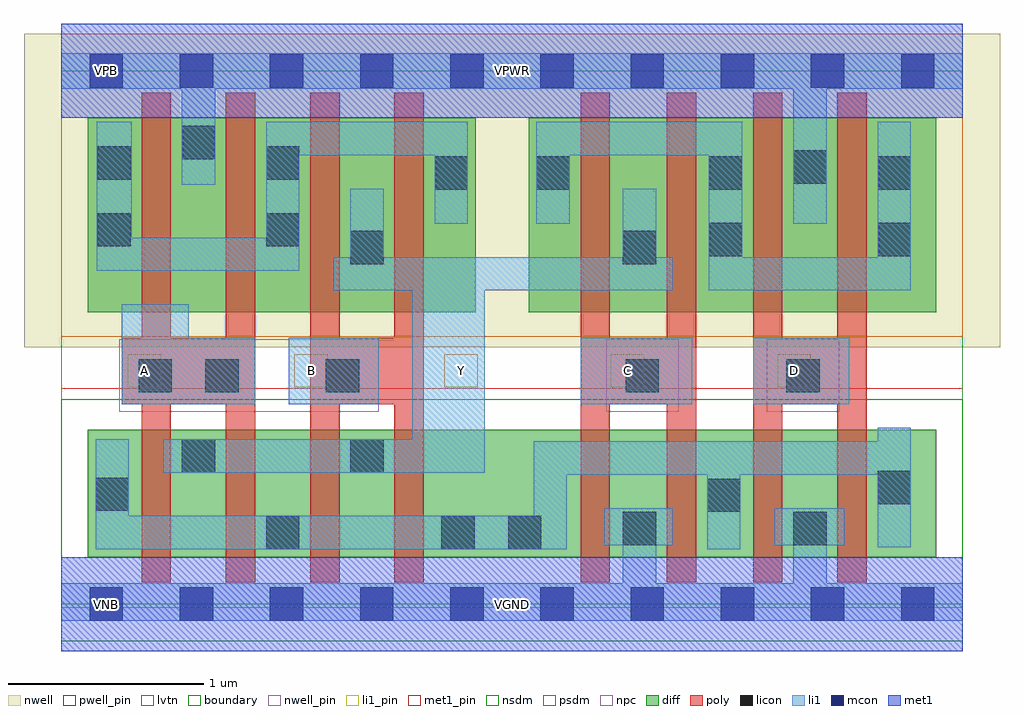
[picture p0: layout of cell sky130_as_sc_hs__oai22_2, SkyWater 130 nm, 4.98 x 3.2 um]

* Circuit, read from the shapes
.subckt sky130_as_sc_hs__oai22_2 A B C D VGND VNB VPB VPWR Y
XM1 Y A n1 VNB sky130_fd_pr__nfet_01v8_lvt w=0.65 l=0.15 m=2
XM2 Y B n1 VNB sky130_fd_pr__nfet_01v8_lvt w=0.65 l=0.15 m=2
XM3 VGND C n1 VNB sky130_fd_pr__nfet_01v8_lvt w=0.65 l=0.15 m=2
XM4 VGND D n1 VNB sky130_fd_pr__nfet_01v8_lvt w=0.65 l=0.15 m=2
XM5 VPWR A n2 VPB sky130_fd_pr__pfet_01v8 w=0.99 l=0.15 m=2
XM6 Y B n2 VPB sky130_fd_pr__pfet_01v8 w=0.99 l=0.15 m=2
XM7 Y C n3 VPB sky130_fd_pr__pfet_01v8 w=0.99 l=0.15 m=2
XM8 VPWR D n3 VPB sky130_fd_pr__pfet_01v8 w=0.99 l=0.15 m=2
.ends

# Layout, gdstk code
import gdstk
lib = gdstk.Library(unit=1e-6, precision=1e-09)
def R(c, l, rs):  # rectangles x0, y0, x1, y1
    for r in rs: c.add(gdstk.rectangle(r[:2], r[2:], *l))
def A(c, l, x, y, w, h, nx, ny, dx, dy):  # array of equal rectangles
    R(c, l, [(x+i*dx, y+j*dy, x+i*dx+w, y+j*dy+h) for i in range(nx) for j in range(ny)])
nwell_pin = (64, 16)
nwell = (64, 20)
diff = (65, 20)
poly = (66, 20)
licon = (66, 44)
li1_pin = (67, 16)
li1 = (67, 20)
mcon = (67, 44)
met1_pin = (68, 16)
met1 = (68, 20)
nsdm = (93, 44)
psdm = (94, 20)
npc = (95, 20)
pwell_pin = (122, 16)
lvtn = (125, 44)
boundary = (235, 4)

sky130_as_sc_hs__oai22_2 = lib.new_cell('sky130_as_sc_hs__oai22_2')
R(sky130_as_sc_hs__oai22_2, nwell_pin, [(0.145,2.635,0.315,2.805)])
R(sky130_as_sc_hs__oai22_2, nwell, [(-0.19,1.31,4.79,2.91)])
R(sky130_as_sc_hs__oai22_2, diff, [(0.135,0.24,4.465,0.89), (0.135,1.49,2.115,2.48), (2.385,1.49,4.465,2.48)])
A(sky130_as_sc_hs__oai22_2, poly, 0.41, 0.11, 0.15, 0.91, 4, 1, 0.43, 0)
A(sky130_as_sc_hs__oai22_2, poly, 2.65, 0.11, 0.15, 0.91, 3, 1, 0.44, 0)
A(sky130_as_sc_hs__oai22_2, poly, 0.41, 1.36, 0.15, 1.25, 4, 1, 0.43, 0)
A(sky130_as_sc_hs__oai22_2, poly, 2.65, 1.36, 0.15, 1.25, 3, 1, 0.44, 0)
R(sky130_as_sc_hs__oai22_2, poly, [(3.96,0.11,4.11,1.02), (0.31,1.02,0.99,1.36), (1.27,1.02,1.85,1.36), (2.65,1.02,3.24,1.36), (3.53,1.02,4.11,1.36), (3.96,1.36,4.11,2.61)])
R(sky130_as_sc_hs__oai22_2, licon, [(1.045,0.28,1.215,0.45), (1.94,0.28,2.11,0.45), (2.28,0.28,2.45,0.45), (2.865,0.3,3.035,0.47), (3.735,0.3,3.905,0.47), (3.295,0.47,3.465,0.64), (0.175,0.475,0.345,0.645), (4.165,0.51,4.335,0.68), (0.615,0.67,0.785,0.84), (1.475,0.67,1.645,0.84), (0.395,1.08,0.565,1.25), (0.735,1.08,0.905,1.25), (1.35,1.08,1.52,1.25), (2.88,1.08,3.05,1.25), (3.7,1.08,3.87,1.25), (1.475,1.735,1.645,1.905), (2.865,1.735,3.035,1.905), (3.305,1.775,3.475,1.945), (4.165,1.775,4.335,1.945), (0.185,1.825,0.355,1.995), (1.045,1.825,1.215,1.995), (1.905,2.115,2.075,2.285), (2.425,2.115,2.595,2.285), (3.305,2.115,3.475,2.285), (4.165,2.115,4.335,2.285), (3.735,2.145,3.905,2.315), (0.185,2.165,0.355,2.335), (1.045,2.165,1.215,2.335), (0.615,2.27,0.785,2.44)])
A(sky130_as_sc_hs__oai22_2, li1_pin, 1.955, 1.105, 0.17, 0.17, 3, 1, 0.85, 0)
R(sky130_as_sc_hs__oai22_2, li1_pin, [(0.34,1.105,0.51,1.275), (1.19,1.105,1.36,1.275)])
R(sky130_as_sc_hs__oai22_2, li1, [(0,-0.085,4.6,0.105), (2.865,0.105,3.035,0.3), (3.735,0.105,3.905,0.3), (0.175,0.28,2.58,0.45), (3.295,0.28,3.465,0.66), (4.165,0.29,4.335,0.66), (2.77,0.3,3.12,0.49), (3.64,0.3,3.995,0.49), (0.175,0.45,0.345,0.84), (2.41,0.45,2.58,0.66), (2.41,0.66,4.335,0.83), (0.52,0.67,2.16,0.84), (4.165,0.83,4.335,0.9), (1.79,0.84,2.16,1.6), (0.31,1.02,0.99,1.36), (1.16,1.02,1.62,1.36), (2.65,1.02,3.22,1.36), (3.53,1.02,4.02,1.36), (0.31,1.36,0.65,1.53), (1.39,1.6,3.12,1.77), (3.305,1.6,4.335,1.77), (0.18,1.7,1.215,1.87), (1.475,1.77,1.645,2.12), (2.865,1.77,3.035,2.12), (3.305,1.77,3.475,2.29), (4.165,1.77,4.335,2.46), (0.18,1.87,0.36,2.46), (1.045,1.87,1.215,2.29), (1.905,1.94,2.075,2.29), (2.425,1.94,2.595,2.29), (3.735,1.94,3.905,2.63), (0.615,2.14,0.785,2.63), (1.045,2.29,2.075,2.46), (2.425,2.29,3.475,2.46), (0,2.63,4.6,2.81)])
A(sky130_as_sc_hs__oai22_2, mcon, 0.145, -0.085, 0.17, 0.17, 10, 2, 0.46, 2.72)
R(sky130_as_sc_hs__oai22_2, met1_pin, [(0,-0.24,4.6,0.24), (0.145,-0.085,0.315,0.085), (0,2.48,4.6,2.96), (0.145,2.635,0.315,2.805)])
R(sky130_as_sc_hs__oai22_2, met1, [(0,-0.24,4.6,0.24), (0,2.48,4.6,2.96)])
R(sky130_as_sc_hs__oai22_2, nsdm, [(0,-0.19,4.6,1.045)])
R(sky130_as_sc_hs__oai22_2, psdm, [(0,1.365,4.6,2.91)])
R(sky130_as_sc_hs__oai22_2, npc, [(0.295,0.98,1.62,1.35), (2.78,0.98,3.15,1.35), (3.6,0.98,3.97,1.35)])
R(sky130_as_sc_hs__oai22_2, pwell_pin, [(0.145,-0.085,0.315,0.085)])
R(sky130_as_sc_hs__oai22_2, lvtn, [(0,-0.02,4.6,1.1)])
R(sky130_as_sc_hs__oai22_2, boundary, [(0,0,4.6,2.72)])
sky130_as_sc_hs__oai22_2.add(gdstk.Label('VNB', (0.23,0), layer=64, texttype=59))
sky130_as_sc_hs__oai22_2.add(gdstk.Label('VPB', (0.23,2.72), layer=64, texttype=5))
sky130_as_sc_hs__oai22_2.add(gdstk.Label('A', (0.425,1.19), layer=67, texttype=5))
sky130_as_sc_hs__oai22_2.add(gdstk.Label('B', (1.275,1.19), layer=67, texttype=5))
sky130_as_sc_hs__oai22_2.add(gdstk.Label('C', (2.89,1.19), layer=67, texttype=5))
sky130_as_sc_hs__oai22_2.add(gdstk.Label('D', (3.74,1.19), layer=67, texttype=5))
sky130_as_sc_hs__oai22_2.add(gdstk.Label('Y', (2.04,1.19), layer=67, texttype=5))
sky130_as_sc_hs__oai22_2.add(gdstk.Label('VNB', (0.23,0), layer=64, texttype=59))
sky130_as_sc_hs__oai22_2.add(gdstk.Label('VPB', (0.23,2.72), layer=64, texttype=5))
sky130_as_sc_hs__oai22_2.add(gdstk.Label('VPWR', (2.3,2.72), layer=68, texttype=5))
sky130_as_sc_hs__oai22_2.add(gdstk.Label('VPWR', (0.23,2.72), layer=68, texttype=5))
sky130_as_sc_hs__oai22_2.add(gdstk.Label('VGND', (2.3,0), layer=68, texttype=5))
sky130_as_sc_hs__oai22_2.add(gdstk.Label('VGND', (0.23,0), layer=68, texttype=5))
sky130_as_sc_hs__oai22_2.add(gdstk.Label('A', (0.425,1.19), layer=67, texttype=5))
sky130_as_sc_hs__oai22_2.add(gdstk.Label('B', (1.275,1.19), layer=67, texttype=5))
sky130_as_sc_hs__oai22_2.add(gdstk.Label('C', (2.89,1.19), layer=67, texttype=5))
sky130_as_sc_hs__oai22_2.add(gdstk.Label('D', (3.74,1.19), layer=67, texttype=5))
sky130_as_sc_hs__oai22_2.add(gdstk.Label('Y', (2.04,1.19), layer=67, texttype=5))

lib.write_gds('sky130_as_sc_hs__oai22_2.gds')
